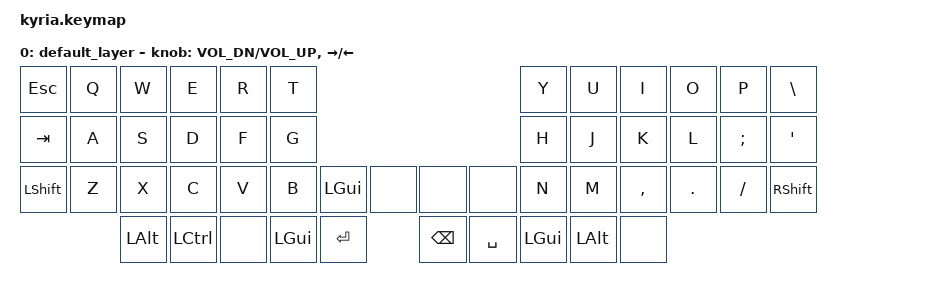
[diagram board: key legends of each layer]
/*
 * Copyright (c) 2020 The ZMK Contributors
 *
 * SPDX-License-Identifier: MIT
 */

#include <behaviors.dtsi>
#include <dt-bindings/zmk/ext_power.h>
#include <dt-bindings/zmk/keys.h>
#include <dt-bindings/zmk/rgb.h>

/ {
	keymap {
		compatible = "zmk,keymap";

		default_layer {
// ----------------------------------------------------------------------------------------------------------------------------------
// |  ESC  |  Q  |  W  |  E    |  R   |  T   |                                          |  Y   |  U    |  I    |  O   |   P   |   \  |
// |  TAB  |  A  |  S  |  D    |  F   |  G   |                                          |  H   |  J    |  K    |  L   |   ;   |   '  |
// | SHIFT |  Z  |  X  |  C    |  V   |  B   | GUI   | TODO |             | TODO | TODO |  N   |  M    |  ,    |  .   |   /   | SHFT |
//               | (E)     ALT | CTRL | TODO | GUI   | RET  |             | BKSP | SPC  | GUI  | GUI   | (E) TODO     |
			bindings = <
	&kp ESC   &kp Q &kp W &kp E &kp R &kp T                                                &kp Y &kp U  &kp I     &kp O   &kp P    &kp BSLH
	&kp TAB   &kp A &kp S &kp D &kp F &kp G                                                &kp H &kp J  &kp K     &kp L   &kp SEMI &kp SQT
	&kp LSHFT &kp Z &kp X &kp C &kp V &kp B      &kp LGUI &none       &none &none          &kp N &kp M  &kp COMMA &kp DOT &kp FSLH &kp RSHFT
	               &kp LALT &kp LCTRL &none    &kp LGUI &kp RET       &kp BSPC &kp SPACE   &kp LGUI &kp LALT &none
			>;

			sensor-bindings = <&inc_dec_kp C_VOL_DN C_VOL_UP &inc_dec_kp RIGHT LEFT>;
		};
	};
};
